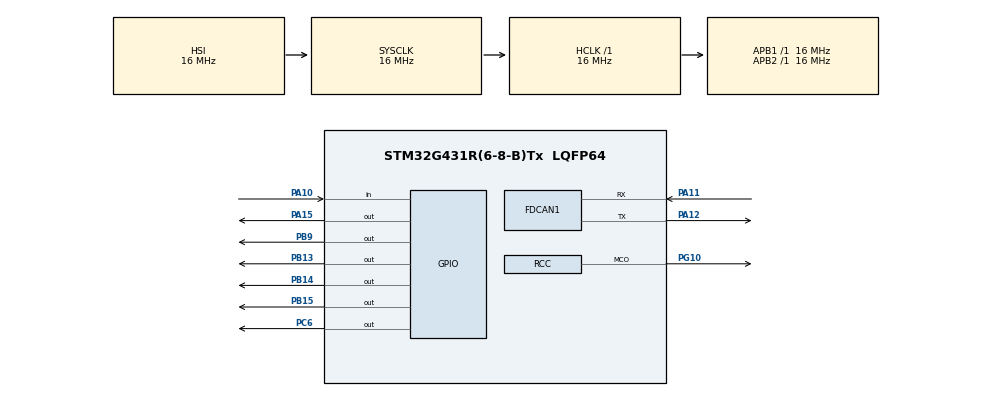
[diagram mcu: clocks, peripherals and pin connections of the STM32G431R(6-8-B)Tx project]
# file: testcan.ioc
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FDCAN1.AutoRetransmission=DISABLE
FDCAN1.CalculateBaudRateNominal=200000
FDCAN1.CalculateTimeBitNominal=5000
FDCAN1.CalculateTimeQuantumNominal=312.5
FDCAN1.NominalPrescaler=5
FDCAN1.NominalTimeSeg1=13
FDCAN1.NominalTimeSeg2=2
Mcu.Family=STM32G4
Mcu.Name=STM32G431R(6-8-B)Tx
Mcu.Package=LQFP64
NVIC.FDCAN1_IT0_IRQn=true\:0\:0\:false\:false\:true\:true\:true\:true
NVIC.FDCAN1_IT1_IRQn=true\:0\:0\:false\:false\:true\:true\:true\:true
NVIC.PriorityGroup=NVIC_PRIORITYGROUP_4
PA10.Signal=GPIO_Input
PA11.Mode=FDCAN_Activate
PA11.Signal=FDCAN1_RX
PA12.Mode=FDCAN_Activate
PA12.Signal=FDCAN1_TX
PA13.Mode=Serial_Wire
PA13.Signal=SYS_JTMS-SWDIO
PA14.Mode=Serial_Wire
PA14.Signal=SYS_JTCK-SWCLK
PA15.Signal=GPIO_Output
PB13.Signal=GPIO_Output
PB14.Signal=GPIO_Output
PB15.GPIO_PuPd=GPIO_NOPULL
PB15.Signal=GPIO_Output
PB9.Signal=GPIO_Output
PC14-OSC32_IN.Mode=LSE-External-Oscillator
PC14-OSC32_IN.Signal=RCC_OSC32_IN
PC15-OSC32_OUT.Mode=LSE-External-Oscillator
PC15-OSC32_OUT.Signal=RCC_OSC32_OUT
PC6.GPIO_PuPd=GPIO_NOPULL
PC6.Signal=GPIO_Output
PF0-OSC_IN.Mode=HSE-External-Oscillator
PF0-OSC_IN.Signal=RCC_OSC_IN
PF1-OSC_OUT.Mode=HSE-External-Oscillator
PF1-OSC_OUT.Signal=RCC_OSC_OUT
PG10-NRST.Mode=Clock-out
PG10-NRST.Signal=RCC_MCO
ProjectManager.HeapSize=0x200
ProjectManager.StackSize=0x400
ProjectManager.TargetToolchain=STM32CubeIDE
RCC.AHBFreq_Value=16000000
RCC.APB1Freq_Value=16000000
RCC.APB1TimFreq_Value=16000000
RCC.APB2Freq_Value=16000000
RCC.APB2TimFreq_Value=16000000
RCC.CortexFreq_Value=16000000
RCC.EXTERNAL_CLOCK_VALUE=12288000
RCC.HCLKFreq_Value=16000000
RCC.HSE_VALUE=8000000
RCC.HSI48_VALUE=48000000
RCC.HSI_VALUE=16000000
RCC.SYSCLKFreq_VALUE=16000000
RCC.USBFreq_Value=64000000
RCC.VCOOutputFreq_Value=128000000
VP_SYS_VS_DBSignals.Mode=DisableDeadBatterySignals
board=custom

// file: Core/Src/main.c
/* USER CODE BEGIN Header */
/**
  ******************************************************************************
  * @file           : main.c
  * @brief          : Main program body
  ******************************************************************************
  * @attention
  *
  * Copyright (c) 2025 STMicroelectronics.
  * All rights reserved.
  *
  * This software is licensed under terms that can be found in the LICENSE file
  * in the root directory of this software component.
  * If no LICENSE file comes with this software, it is provided AS-IS.
  *
  ******************************************************************************
  */
/* USER CODE END Header */
#include "main.h"

FDCAN_HandleTypeDef hfdcan1;

void SystemClock_Config(void);
static void MX_GPIO_Init(void);
static void MX_FDCAN1_Init(void);
/* USER CODE BEGIN PFP */
uint8_t flag = 0;
/* USER CODE END PFP */

/* USER CODE BEGIN 0 */
FDCAN_TxHeaderTypeDef TxHeader;
FDCAN_RxHeaderTypeDef RxHeader;

uint8_t txdata[8] ={0x11, 0x22, 0x33, 0x44, 0x55, 0x66, 0x77, 0x88};
uint8_t rxdata[8];
uint32_t TxMailbox;

void HAL_FDCAN_RxFifo0Callback(FDCAN_HandleTypeDef *hfdcan, uint32_t RxFifo0ITs)
{
    if ((RxFifo0ITs & FDCAN_IT_RX_FIFO0_NEW_MESSAGE) != 0)
    {
        HAL_FDCAN_GetRxMessage(hfdcan, FDCAN_RX_FIFO0, &RxHeader, rxdata);
        // Process received message
    }
}

/* USER CODE END 0 */

int main(void)
{

  /* MCU Configuration--------------------------------------------------------*/

  /* Reset of all peripherals, Initializes the Flash interface and the Systick. */
  HAL_Init();

  /* Configure the system clock */
  SystemClock_Config();

  /* Initialize all configured peripherals */
  MX_GPIO_Init();
  MX_FDCAN1_Init();
  /* USER CODE BEGIN 2 */
  HAL_GPIO_WritePin(GPIOB, GPIO_PIN_15, 1);
  HAL_GPIO_WritePin(GPIOC, GPIO_PIN_6, 0);
  HAL_FDCAN_Start(&hfdcan1);
  HAL_FDCAN_ActivateNotification(&hfdcan1, FDCAN_FLAG_RX_FIFO0_NEW_MESSAGE, 0);

  TxHeader.Identifier = 0x123;
  TxHeader.IdType = FDCAN_STANDARD_ID;
  TxHeader.TxFrameType = FDCAN_DATA_FRAME;
  TxHeader.DataLength = FDCAN_DLC_BYTES_8;
  TxHeader.ErrorStateIndicator = FDCAN_ESI_ACTIVE;
  TxHeader.BitRateSwitch = FDCAN_BRS_OFF;
  TxHeader.FDFormat = FDCAN_CLASSIC_CAN;
  TxHeader.TxEventFifoControl = FDCAN_NO_TX_EVENTS;
  TxHeader.MessageMarker = 0;

  HAL_FDCAN_AddMessageToTxFifoQ(&hfdcan1, &TxHeader, txdata);

  /* USER CODE END 2 */

  /* Infinite loop */
  /* USER CODE BEGIN WHILE */
  while (1)
  {
	  HAL_StatusTypeDef status;
	  status = HAL_FDCAN_AddMessageToTxFifoQ(&hfdcan1, &TxHeader, txdata);
	  if (status == HAL_OK)	{
	    flag = 1;
	    HAL_GPIO_WritePin(GPIOB, GPIO_PIN_9, 1);
	  }
	  else{
	    flag = 0;
	    HAL_GPIO_WritePin(GPIOB, GPIO_PIN_14, 1);
	  }

	  HAL_Delay(500);
	  HAL_GPIO_WritePin(GPIOB, GPIO_PIN_14, 0);
	  HAL_GPIO_WritePin(GPIOB, GPIO_PIN_9, 0);
	  HAL_Delay(500);

    /* USER CODE END WHILE */

  }
}

void SystemClock_Config(void)
{
  RCC_OscInitTypeDef RCC_OscInitStruct = {0};
  RCC_ClkInitTypeDef RCC_ClkInitStruct = {0};

  /** Configure the main internal regulator output voltage
  */
  HAL_PWREx_ControlVoltageScaling(PWR_REGULATOR_VOLTAGE_SCALE1);

  /** Initializes the RCC Oscillators according to the specified parameters
  * in the RCC_OscInitTypeDef structure.
  */
  RCC_OscInitStruct.OscillatorType = RCC_OSCILLATORTYPE_HSI;
  RCC_OscInitStruct.HSIState = RCC_HSI_ON;
  RCC_OscInitStruct.HSICalibrationValue = RCC_HSICALIBRATION_DEFAULT;
  RCC_OscInitStruct.PLL.PLLState = RCC_PLL_NONE;
  if (HAL_RCC_OscConfig(&RCC_OscInitStruct) != HAL_OK)
  {
    Error_Handler();
  }

  /** Initializes the CPU, AHB and APB buses clocks
  */
  RCC_ClkInitStruct.ClockType = RCC_CLOCKTYPE_HCLK|RCC_CLOCKTYPE_SYSCLK
                              |RCC_CLOCKTYPE_PCLK1|RCC_CLOCKTYPE_PCLK2;
  RCC_ClkInitStruct.SYSCLKSource = RCC_SYSCLKSOURCE_HSI;
  RCC_ClkInitStruct.AHBCLKDivider = RCC_SYSCLK_DIV1;
  RCC_ClkInitStruct.APB1CLKDivider = RCC_HCLK_DIV1;
  RCC_ClkInitStruct.APB2CLKDivider = RCC_HCLK_DIV1;

  if (HAL_RCC_ClockConfig(&RCC_ClkInitStruct, FLASH_LATENCY_0) != HAL_OK)
  {
    Error_Handler();
  }
  HAL_RCC_MCOConfig(RCC_MCO_PG10, RCC_MCO1SOURCE_HSI, RCC_MCODIV_1);
}

static void MX_FDCAN1_Init(void)
{

  hfdcan1.Instance = FDCAN1;
  hfdcan1.Init.ClockDivider = FDCAN_CLOCK_DIV1;
  hfdcan1.Init.FrameFormat = FDCAN_FRAME_CLASSIC;
  hfdcan1.Init.Mode = FDCAN_MODE_NORMAL;
  hfdcan1.Init.AutoRetransmission = DISABLE;
  hfdcan1.Init.TransmitPause = DISABLE;
  hfdcan1.Init.ProtocolException = DISABLE;
  hfdcan1.Init.NominalPrescaler = 5;
  hfdcan1.Init.NominalSyncJumpWidth = 1;
  hfdcan1.Init.NominalTimeSeg1 = 13;
  hfdcan1.Init.NominalTimeSeg2 = 2;
  hfdcan1.Init.DataPrescaler = 1;
  hfdcan1.Init.DataSyncJumpWidth = 1;
  hfdcan1.Init.DataTimeSeg1 = 1;
  hfdcan1.Init.DataTimeSeg2 = 1;
  hfdcan1.Init.StdFiltersNbr = 0;
  hfdcan1.Init.ExtFiltersNbr = 0;
  hfdcan1.Init.TxFifoQueueMode = FDCAN_TX_FIFO_OPERATION;
  if (HAL_FDCAN_Init(&hfdcan1) != HAL_OK)
  {
    Error_Handler();
  }
  /* USER CODE BEGIN FDCAN1_Init 2 */
  FDCAN_FilterTypeDef sFilterConfig;

  sFilterConfig.IdType = FDCAN_STANDARD_ID;
  sFilterConfig.FilterIndex = 0;
  sFilterConfig.FilterType = FDCAN_FILTER_MASK;
  sFilterConfig.FilterConfig = FDCAN_FILTER_TO_RXFIFO0;
  sFilterConfig.FilterID1 = 0x321;
  sFilterConfig.FilterID2 = 0x7FF;
  if (HAL_FDCAN_ConfigFilter(&hfdcan1, &sFilterConfig) != HAL_OK)
  {
    Error_Handler();
  }
  /* USER CODE END FDCAN1_Init 2 */

}

static void MX_GPIO_Init(void)
{
  GPIO_InitTypeDef GPIO_InitStruct = {0};

  /* GPIO Ports Clock Enable */
  __HAL_RCC_GPIOC_CLK_ENABLE();
  __HAL_RCC_GPIOF_CLK_ENABLE();
  __HAL_RCC_GPIOG_CLK_ENABLE();
  __HAL_RCC_GPIOB_CLK_ENABLE();
  __HAL_RCC_GPIOA_CLK_ENABLE();

  /*Configure GPIO pin Output Level */
  HAL_GPIO_WritePin(GPIOB, GPIO_PIN_13|GPIO_PIN_14|GPIO_PIN_15|GPIO_PIN_9, GPIO_PIN_RESET);

  /*Configure GPIO pin Output Level */
  HAL_GPIO_WritePin(GPIOC, GPIO_PIN_6, GPIO_PIN_RESET);

  /*Configure GPIO pin Output Level */
  HAL_GPIO_WritePin(GPIOA, GPIO_PIN_15, GPIO_PIN_RESET);

  /*Configure GPIO pin : PG10 */
  GPIO_InitStruct.Pin = GPIO_PIN_10;
  GPIO_InitStruct.Mode = GPIO_MODE_AF_PP;
  GPIO_InitStruct.Pull = GPIO_NOPULL;
  GPIO_InitStruct.Speed = GPIO_SPEED_FREQ_LOW;
  GPIO_InitStruct.Alternate = GPIO_AF0_MCO;
  HAL_GPIO_Init(GPIOG, &GPIO_InitStruct);

  /*Configure GPIO pins : PB13 PB14 PB15 PB9 */
  GPIO_InitStruct.Pin = GPIO_PIN_13|GPIO_PIN_14|GPIO_PIN_15|GPIO_PIN_9;
  GPIO_InitStruct.Mode = GPIO_MODE_OUTPUT_PP;
  GPIO_InitStruct.Pull = GPIO_NOPULL;
  GPIO_InitStruct.Speed = GPIO_SPEED_FREQ_LOW;
  HAL_GPIO_Init(GPIOB, &GPIO_InitStruct);

  /*Configure GPIO pin : PC6 */
  GPIO_InitStruct.Pin = GPIO_PIN_6;
  GPIO_InitStruct.Mode = GPIO_MODE_OUTPUT_PP;
  GPIO_InitStruct.Pull = GPIO_NOPULL;
  GPIO_InitStruct.Speed = GPIO_SPEED_FREQ_LOW;
  HAL_GPIO_Init(GPIOC, &GPIO_InitStruct);

  /*Configure GPIO pin : PA10 */
  GPIO_InitStruct.Pin = GPIO_PIN_10;
  GPIO_InitStruct.Mode = GPIO_MODE_INPUT;
  GPIO_InitStruct.Pull = GPIO_NOPULL;
  HAL_GPIO_Init(GPIOA, &GPIO_InitStruct);

  /*Configure GPIO pin : PA15 */
  GPIO_InitStruct.Pin = GPIO_PIN_15;
  GPIO_InitStruct.Mode = GPIO_MODE_OUTPUT_PP;
  GPIO_InitStruct.Pull = GPIO_NOPULL;
  GPIO_InitStruct.Speed = GPIO_SPEED_FREQ_LOW;
  HAL_GPIO_Init(GPIOA, &GPIO_InitStruct);

}

void Error_Handler(void)
{
  __disable_irq();
  while (1)
  {
  }
}
